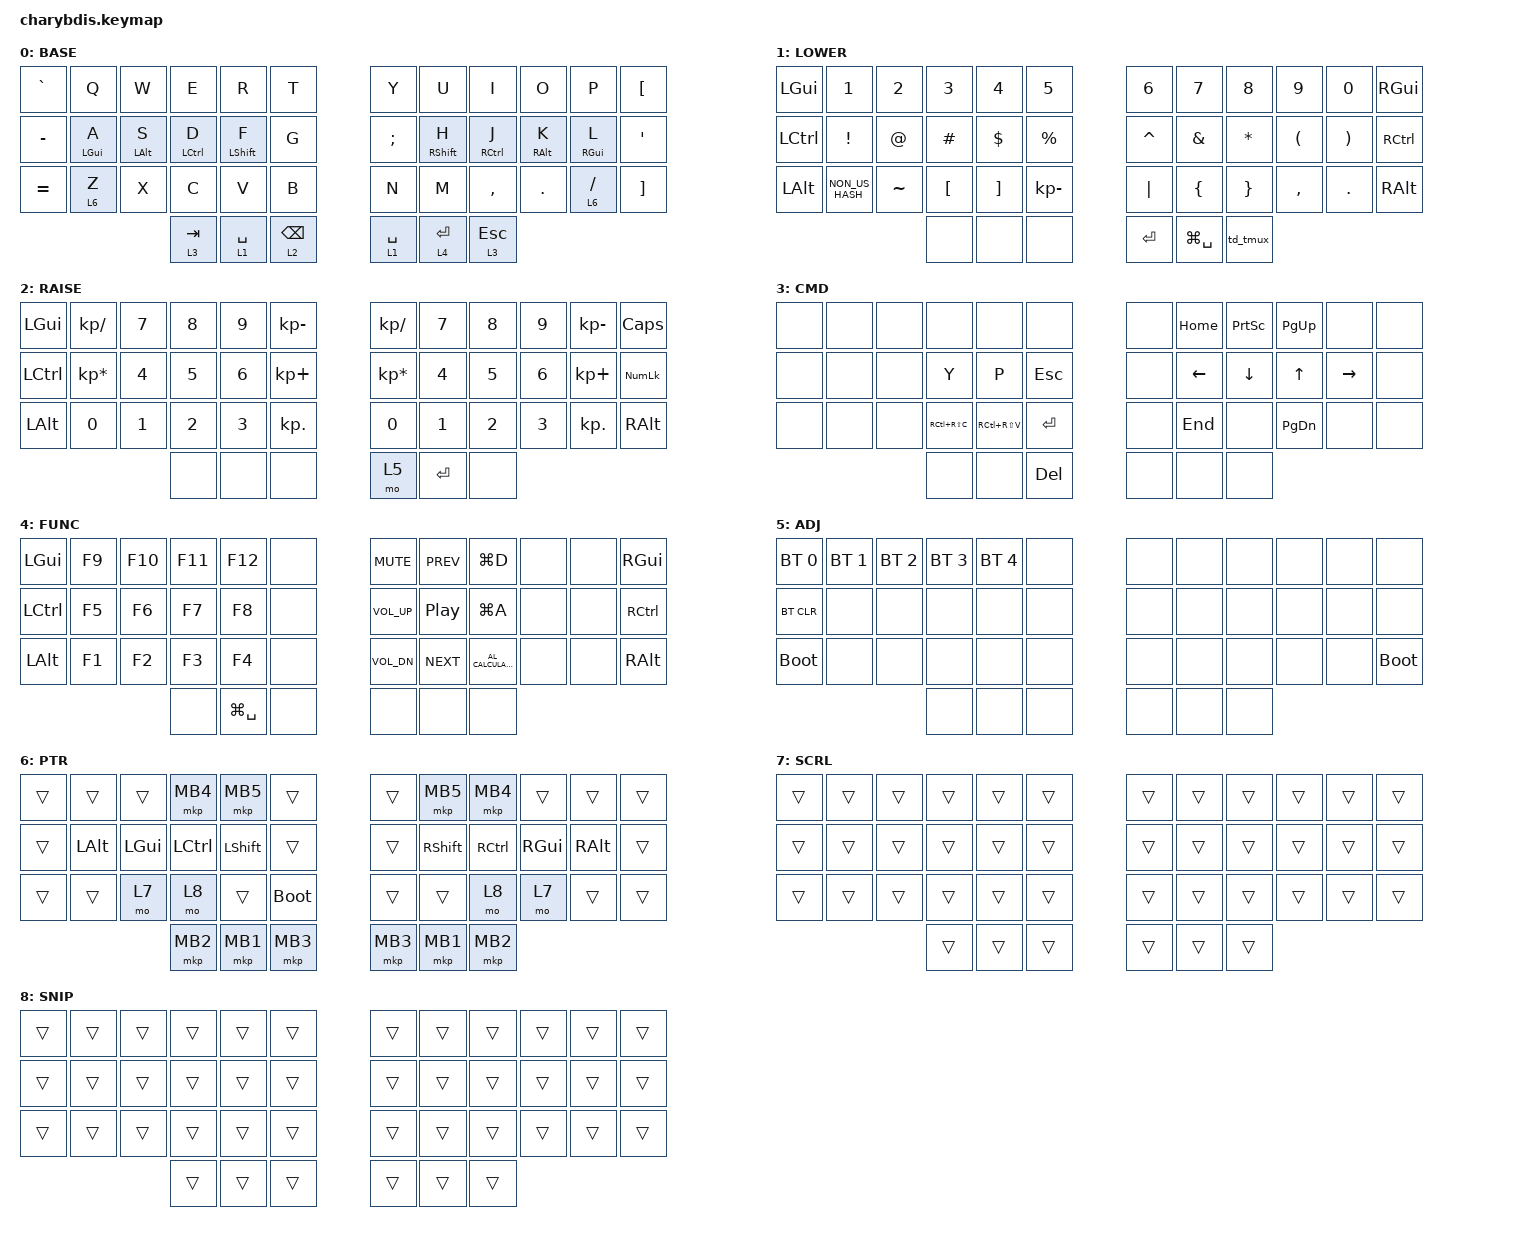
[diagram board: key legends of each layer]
#include <behaviors.dtsi>
#include <dt-bindings/zmk/keys.h>
#include <dt-bindings/zmk/bt.h>
#include <dt-bindings/zmk/pointing.h>
#include <dt-bindings/zmk/mouse.h>

/*
 * Charybdis mini36 — раскладка портирована с QMK tbkmini (keymap.c).
 * Слои: 0 BASE, 1 LOWER, 2 RAISE, 3 COMMAND, 4 FUNC, 5 ADJUST,
 *       6 POINTER (мышь, удержание Z), 7 SCROLL (drag-scroll), 8 SNIPE (точность).
 * Трекбол: scroll-layers=<7>, snipe-layers=<8> заданы в charybdis_right.overlay.
 * OS = Linux (GUI = Super). RGB на плате нет — убран.
 */

/* Глобальная настройка layer-tap (&lt), в т.ч. &lt 6 Z для слоя мыши */
&lt {
    tapping-term-ms = <200>;
    flavor = "balanced";
    quick-tap-ms = <150>;
};

/ {
    behaviors {
        /* Home-row mods (urob «timeless»), позиционные */
        hml: home_row_mod_left {
            compatible = "zmk,behavior-hold-tap";
            #binding-cells = <2>;
            flavor = "balanced";
            tapping-term-ms = <280>;
            quick-tap-ms = <175>;
            require-prior-idle-ms = <150>;
            bindings = <&kp>, <&kp>;
            hold-trigger-key-positions = <6 7 8 9 10 11 18 19 20 21 22 23 30 31 32 33 34 35 36 37 38 39 40 41>;
            hold-trigger-on-release;
        };
        hmr: home_row_mod_right {
            compatible = "zmk,behavior-hold-tap";
            #binding-cells = <2>;
            flavor = "balanced";
            tapping-term-ms = <280>;
            quick-tap-ms = <175>;
            require-prior-idle-ms = <150>;
            bindings = <&kp>, <&kp>;
            hold-trigger-key-positions = <0 1 2 3 4 5 12 13 14 15 16 17 24 25 26 27 28 29 36 37 38 39 40 41>;
            hold-trigger-on-release;
        };
        /* Tap-dance: 1 тап = Ctrl+Alt+B (tmux), 2 тапа = caps-word (умный капс).
           tapping-term 250мс — окно для распознавания двойного тапа. */
        td_tmux: tap_dance_tmux {
            compatible = "zmk,behavior-tap-dance";
            #binding-cells = <0>;
            tapping-term-ms = <250>;
            bindings = <&kp LC(LA(B))>, <&caps_word>;
        };
    };

    keymap {
        compatible = "zmk,keymap";

        layer_0 {
            display-name = "BASE";
            bindings = <
&kp GRAVE   &kp Q         &kp W         &kp E          &kp R          &kp T         &kp Y     &kp U          &kp I          &kp O         &kp P         &kp LBKT
&kp MINUS   &hml LGUI A   &hml LALT S   &hml LCTRL D   &hml LSHFT F   &kp G         &kp SEMI  &hmr RSHFT H   &hmr RCTRL J   &hmr RALT K   &hmr RGUI L   &kp SQT
&kp EQUAL   &lt 6 Z       &kp X         &kp C          &kp V          &kp B         &kp N     &kp M          &kp COMMA      &kp DOT       &lt 6 FSLH    &kp RBKT
                                        &lt 3 TAB      &lt 1 SPACE    &lt 2 BSPC    &lt 1 SPACE  &lt 4 ENTER  &lt 3 ESC
            >;
        };

        layer_1 {
            display-name = "LOWER";
            bindings = <
&kp LGUI    &kp N1           &kp N2      &kp N3     &kp N4     &kp N5          &kp N6      &kp N7      &kp N8      &kp N9       &kp N0      &kp RGUI
&kp LCTRL   &kp EXCL         &kp AT      &kp HASH   &kp DLLR   &kp PRCNT       &kp CARET   &kp AMPS    &kp STAR    &kp LPAR     &kp RPAR   &kp RCTRL
&kp LALT    &kp NON_US_HASH  &kp TILDE   &kp LBKT   &kp RBKT   &kp KP_MINUS    &kp PIPE    &kp LBRC    &kp RBRC    &kp COMMA    &kp DOT    &kp RALT
                                         &none      &none      &none           &kp ENTER   &kp LG(SPACE)  &td_tmux
            >;
        };

        layer_2 {
            display-name = "RAISE";
            bindings = <
&kp LGUI    &kp KP_SLASH     &kp N7   &kp N8   &kp N9   &kp KP_MINUS    &kp KP_SLASH     &kp N7   &kp N8   &kp N9   &kp KP_MINUS  &kp CAPS
&kp LCTRL   &kp KP_ASTERISK  &kp N4   &kp N5   &kp N6   &kp KP_PLUS     &kp KP_ASTERISK  &kp N4   &kp N5   &kp N6   &kp KP_PLUS   &kp KP_NUM
&kp LALT    &kp N0           &kp N1   &kp N2   &kp N3   &kp KP_DOT      &kp N0           &kp N1   &kp N2   &kp N3   &kp KP_DOT    &kp RALT
                                      &none    &none    &none           &mo 5            &kp ENTER &none
            >;
        };

        layer_3 {
            display-name = "CMD";
            bindings = <
&none   &none   &none   &none          &none          &none      &none   &kp HOME   &kp PSCRN   &kp PG_UP    &none      &none
&none   &none   &none   &kp Y          &kp P          &kp ESC    &none   &kp LEFT   &kp DOWN    &kp UP       &kp RIGHT  &none
&none   &none   &none   &kp RC(RS(C))  &kp RC(RS(V))  &kp ENTER  &none   &kp END    &none       &kp PG_DN    &none      &none
                        &none          &none          &kp DEL    &none   &none      &none
            >;
        };

        layer_4 {
            display-name = "FUNC";
            bindings = <
&kp LGUI    &kp F9   &kp F10  &kp F11   &kp F12   &none      &kp C_MUTE    &kp C_PREV   &kp LG(D)             &none   &none   &kp RGUI
&kp LCTRL   &kp F5   &kp F6   &kp F7    &kp F8    &none      &kp C_VOL_UP  &kp C_PP     &kp LG(A)             &none   &none   &kp RCTRL
&kp LALT    &kp F1   &kp F2   &kp F3    &kp F4    &none      &kp C_VOL_DN  &kp C_NEXT   &kp C_AL_CALCULATOR   &none   &none   &kp RALT
                              &none             &kp LG(SPACE)      &none      &none         &none        &none
            >;
        };

        layer_5 {
            display-name = "ADJ";
            bindings = <
&bt BT_SEL 0  &bt BT_SEL 1  &bt BT_SEL 2  &bt BT_SEL 3  &bt BT_SEL 4  &none    &none   &none   &none   &none   &none   &none
&bt BT_CLR    &none         &none         &none         &none         &none    &none   &none   &none   &none   &none   &none
&bootloader   &none         &none         &none         &none         &none    &none   &none   &none   &none   &none   &bootloader
                                          &none         &none         &none    &none   &none   &none
            >;
        };

        layer_6 {
            display-name = "PTR";
            bindings = <
&trans  &trans     &trans    &mkp MB4   &mkp MB5   &trans        &trans  &mkp MB5   &mkp MB4   &trans     &trans    &trans
&trans  &kp LALT   &kp LGUI  &kp LCTRL  &kp LSHFT  &trans        &trans  &kp RSHFT  &kp RCTRL  &kp RGUI   &kp RALT  &trans
&trans  &trans     &mo 7     &mo 8      &trans     &bootloader   &trans  &trans     &mo 8      &mo 7      &trans    &trans
                             &mkp MB2   &mkp MB1   &mkp MB3      &mkp MB3  &mkp MB1   &mkp MB2
            >;
        };

        layer_7 {
            display-name = "SCRL";
            bindings = <
&trans  &trans  &trans  &trans  &trans  &trans    &trans  &trans  &trans  &trans  &trans  &trans
&trans  &trans  &trans  &trans  &trans  &trans    &trans  &trans  &trans  &trans  &trans  &trans
&trans  &trans  &trans  &trans  &trans  &trans    &trans  &trans  &trans  &trans  &trans  &trans
                        &trans  &trans  &trans    &trans  &trans  &trans
            >;
        };

        layer_8 {
            display-name = "SNIP";
            bindings = <
&trans  &trans  &trans  &trans  &trans  &trans    &trans  &trans  &trans  &trans  &trans  &trans
&trans  &trans  &trans  &trans  &trans  &trans    &trans  &trans  &trans  &trans  &trans  &trans
&trans  &trans  &trans  &trans  &trans  &trans    &trans  &trans  &trans  &trans  &trans  &trans
                        &trans  &trans  &trans    &trans  &trans  &trans
            >;
        };
    };
};
